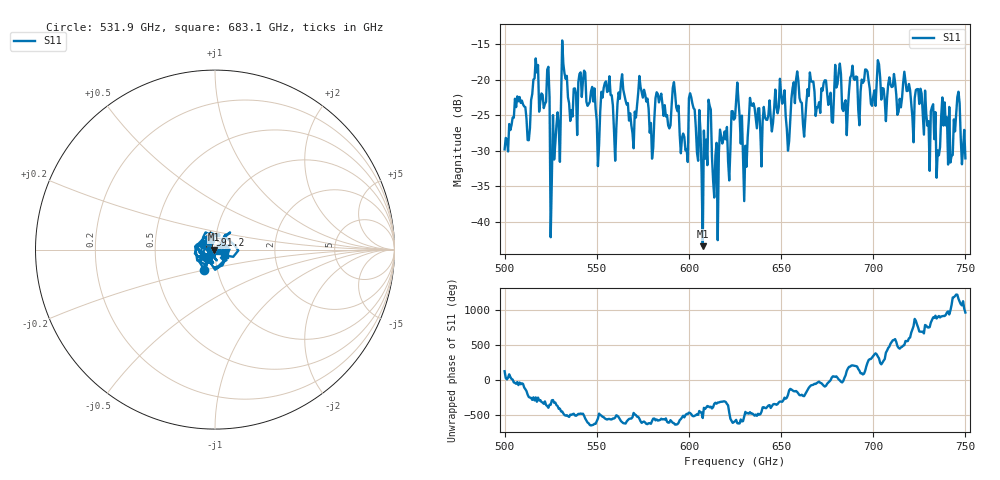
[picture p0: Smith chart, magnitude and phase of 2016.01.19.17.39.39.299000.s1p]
!Created with skrf (http://scikit-rf.org).
# GHz S RI R 50.0
!freq ReS11 ImS11
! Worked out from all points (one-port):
!   401 points, 500 GHz to 750 GHz, reference 50 ohm
!   lowest |S11| = -43.4 dB at 607.5 GHz (marker M1), VSWR 1.01, Z = 49.3 + j0.0182 ohm
!   |S11| at or under -10 dB: start of sweep to end of sweep
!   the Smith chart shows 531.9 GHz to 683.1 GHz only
!   S11 on the Smith chart (normalised r, x): 531.9 GHz: 0.87, -0.20; 591.2 GHz: 0.93, +0.15; 683.1 GHz: 1.11, -0.07
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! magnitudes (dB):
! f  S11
! 500 GHz  -29.8
! 506.9 GHz  -22.4
! 513.1 GHz  -28.5
! 516.9 GHz  -17.0
! 523.1 GHz  -18.6
! 526.2 GHz  -25.0
! 531.2 GHz  -14.5
! 531.9 GHz  -17.8
! 550.6 GHz  -32.2
! 562.5 GHz  -22.7
! 580 GHz  -31.1
! 591.2 GHz  -21.1
! 593.8 GHz  -24.4
! 598.1 GHz  -30.0
! 601.9 GHz  -23.3
! 607.5 GHz  -43.4
! 610.6 GHz  -22.8
! 614.4 GHz  -30.7
! 625 GHz  -25.4
! 630.6 GHz  -29.3
! 634.4 GHz  -23.7
! 656.2 GHz  -21.2
! 683.1 GHz  -24.1
! 687.5 GHz  -19.7
! 718.8 GHz  -21.6
! 735.6 GHz  -30.6
! 745.6 GHz  -22.4
! 750 GHz  -31.1
